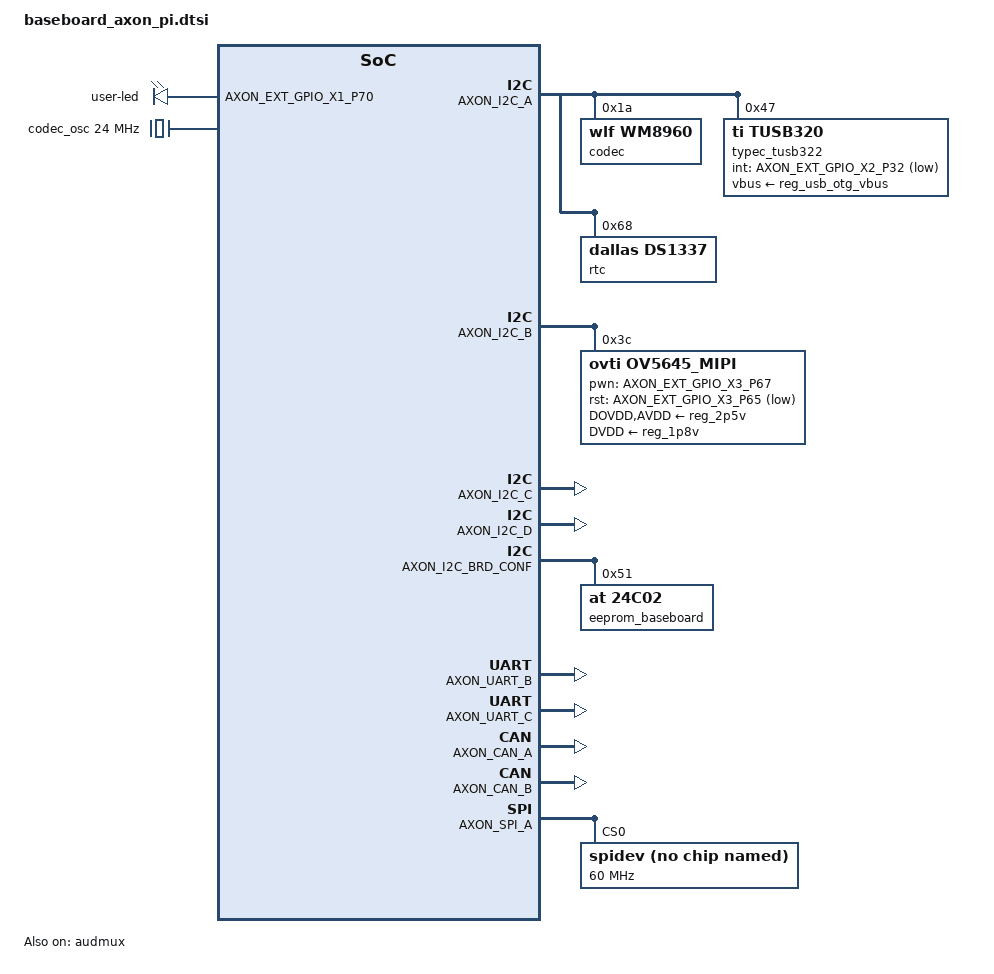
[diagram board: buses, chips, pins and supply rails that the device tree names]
/*
 * Copyright 2018 Technexion Ltd.
 *
 * Author: Tapani Utriainen <tapani@technexion.com>
 *         Richard Hu <richard.hu@technexion.com>
 *
 * This program is free software; you can redistribute it and/or modify
 * it under the terms of the GNU General Public License version 2 as
 * published by the Free Software Foundation.
 *
 */

#include <tnmacro.h>
#include <dt-bindings/sound/fsl-imx-audmux.h>

/ {
	aliases {
		i2c0 = &AXON_I2C_A;
                i2c1 = &AXON_I2C_B;
                i2c2 = &AXON_I2C_C;
                i2c3 = &AXON_I2C_D;
                i2c4 = &AXON_I2C_BRD_CONF;
                uart0 = &AXON_UART_A;
                uart1 = &AXON_UART_B;
                uart3 = &AXON_UART_C;
                uart4 = &AXON_UART_BT;
        };

	gpio-axon {
		compatible = "gpio-edm";

    /* 40-pin expansion */

    gpio_x1_p19 {
			label = "gpio_x1_p19";
			gpios = <&AXON_EXT_GPIO_X1_P19 GPIO_ACTIVE_HIGH>;
			dir   = "out";
		};

    gpio_x1_p21 {
			label = "gpio_x1_p21";
			gpios = <&AXON_EXT_GPIO_X1_P21 GPIO_ACTIVE_HIGH>;
			dir   = "out";
		};

    gpio_x1_p72 {
			label = "gpio_x1_p72";
			gpios = <&AXON_EXT_GPIO_X1_P72 GPIO_ACTIVE_HIGH>;
			dir   = "out";
		};

    gpio_x1_p74 {
			label = "gpio_x1_p74";
			gpios = <&AXON_EXT_GPIO_X1_P74 GPIO_ACTIVE_HIGH>;
			dir   = "out";
		};

    gpio_x1_p76 {
			label = "gpio_x1_p76";
			gpios = <&AXON_EXT_GPIO_X1_P76 GPIO_ACTIVE_HIGH>;
			dir   = "out";
		};

    gpio_x1_p78 {
			label = "gpio_x1_p78";
			gpios = <&AXON_EXT_GPIO_X1_P78 GPIO_ACTIVE_HIGH>;
			dir   = "out";
		};

    gpio_x1_p80 {
			label = "gpio_x1_p80";
			gpios = <&AXON_EXT_GPIO_X1_P80 GPIO_ACTIVE_HIGH>;
			dir   = "out";
		};

    gpio_x2_p79 {
			label = "gpio_x2_p79";
			gpios = <&AXON_EXT_GPIO_X2_P79 GPIO_ACTIVE_HIGH>;
			dir   = "out";
		};

	};

	sound: sound {
		compatible = "simple-audio-card";
		simple-audio-card,name = "axon-pi-wm8960-audio";
		simple-audio-card,format = "i2s";
		simple-audio-card,bitclock-master = <&dailink_master>;
		simple-audio-card,frame-master = <&dailink_master>;
		simple-audio-card,widgets =
			"Microphone", "Mic Jack",
			"Speaker", "Speaker",
			"Headphone", "Headphone Jack";
		simple-audio-card,routing =
			"Headphone Jack", "HP_L",
			"Headphone Jack", "HP_R",
			"Speaker", "SPK_LP",
			"Speaker", "SPK_LN",
			"Speaker", "SPK_RP",
			"Speaker", "SPK_RN",
			"LINPUT2", "Mic Jack",
			"LINPUT3", "Mic Jack",
			"Mic Jack", "MICB";
		simple-audio-card,cpu {
			sound-dai = <&AXON_AUD_A_I2S_CHANNEL>;
		};

		dailink_master: simple-audio-card,codec {
			sound-dai = <&codec>;
			clocks = <&codec_osc>;
		};
	};

	/* User LED */
	user-led {
		compatible = "gpio-leds";
		led {
			label = "user-led";
			gpios = <&AXON_EXT_GPIO_X1_P70 GPIO_ACTIVE_HIGH>;
			dir   = "out";
		};
	};

	clocks {
		codec_osc: aud_mclk {  /* Note - on AXON pi rev 0.1 MCLK comes from external osc */
			compatible = "fixed-clock";
			#clock-cells = <0>;
			clock-frequency = <24000000>;
			clock-output-names = "wm8960-mclk";
		};
	};

	/* Turn off LCD interface as we do not support this on Axon-Pi */
	lcd@0 {
        	status = "disabled";
	};
};

&audmux {
	status = "okay";

	/* Source port */
	ssi1 {
		fsl,audmux-port = <0>;
		fsl,port-config = <
			(IMX_AUDMUX_V2_PTCR_TFSDIR |
			IMX_AUDMUX_V2_PTCR_TFSEL(2) |
			IMX_AUDMUX_V2_PTCR_TCLKDIR |
			IMX_AUDMUX_V2_PTCR_TCSEL(2) |
			IMX_AUDMUX_V2_PTCR_SYN)
			IMX_AUDMUX_V2_PDCR_RXDSEL(0)
		>;
	};

	/* External port */
	pins3 {
		fsl,audmux-port = <2>;
		fsl,port-config = <
			IMX_AUDMUX_V2_PTCR_SYN
			IMX_AUDMUX_V2_PDCR_RXDSEL(0)
                >;
	};
};

&iomuxc {
	pinctrl-0 = AXON_SOM_PINCTRL,
		<&pinctrl_gpio_x1_p19>, /* pinmuxed with UART_B_RTS, use only when UART_B is 2-wire */
		<&pinctrl_gpio_x1_p21>, /* pinmuxed with UART_B_CTS, use only when UART_B is 2-wire */
		<&pinctrl_gpio_x1_p66>,
		<&pinctrl_gpio_x1_p68>,
		<&pinctrl_gpio_x1_p70>,
		<&pinctrl_gpio_x1_p72>,
		<&pinctrl_gpio_x1_p74>,
		<&pinctrl_gpio_x1_p76>,
		<&pinctrl_gpio_x1_p78>,
		<&pinctrl_gpio_x1_p80>,
		<&pinctrl_gpio_x2_p18>,
		<&pinctrl_gpio_x2_p20>,
		<&pinctrl_gpio_x2_p22>,
		<&pinctrl_gpio_x2_p24>,
		<&pinctrl_gpio_x3_p71>;
};

&AXON_I2C_A {
	status = "okay";

	codec: wm8960@1a {
		compatible = "wlf,wm8960";
		reg = <0x1a>;
		#sound-dai-cells = <0>;
		clocks = <&codec_osc>;  /* Note:  AXON-PI the clock is external osc */
		clock-names = "mclk";
		wlf,shared-lrclk;
		wlf,fixed-mclk;
	};

	typec_tusb322:tusb320@47 {
		compatible = "ti,tusb320";
		pinctrl-names = "default";
		pinctrl-0 = <&pinctrl_gpio_x2_p32>;
		reg = <0x47>;
		vbus-supply = <&reg_usb_otg_vbus>;
		tusb320,int-gpio = <&AXON_EXT_GPIO_X2_P32 GPIO_ACTIVE_LOW>;
		tusb320,select-mode = <0>;
		tusb320,dfp-power = <0>;
	};

	rtc: ds1337 {
		compatible = "dallas,ds1337";
		reg = <0x68>;
	};
};

&AXON_I2C_B {
  status = "okay";
	ov5645_mipi: ov5645_mipi@3c {
		compatible = "ovti,ov5645_mipi";
		pinctrl-names = "default";
		pinctrl-0 = <&pinctrl_mipi_csi>;
		reg = <0x3c>;
		clocks = <&clks 200>;
		clock-names = "csi_mclk";
		DOVDD-supply = <&reg_2p5v>;
		AVDD-supply = <&reg_2p5v>;
		DVDD-supply = <&reg_1p8v>;
		pwn-gpios = <&AXON_EXT_GPIO_X3_P67 GPIO_ACTIVE_HIGH>;
		rst-gpios = <&AXON_EXT_GPIO_X3_P65 GPIO_ACTIVE_LOW>;
		ipu_id = <0>;
		csi_id = <0>;
		mclk = <24000000>;
		mclk_source = <0>;
	};
};

&AXON_I2C_C {
	status = "okay";
};

&AXON_I2C_D {
	status = "okay";
};

&AXON_I2C_BRD_CONF {
	status = "okay";

	eeprom_baseboard: eeprom@51 {
		compatible = "at,24c02";
		reg = <0x51>;
	};
};

&AXON_UART_B {
	status = "okay";
};

&AXON_UART_C {
	pinctrl-0 = <&pinctrl_axon_uart_c_rtscts>;
	fsl,uart-has-rtscts;
	status = "okay";
};

&AXON_CAN_A {
	status = "okay";
};

&AXON_CAN_B {
	status = "okay";
};

&AXON_SPI_A {
	status = "okay";

	spidev@1 {
		compatible = "rohm,dh2228fv";
		spi-max-frequency = <60000000>;
		reg = <0>;
	};
};
